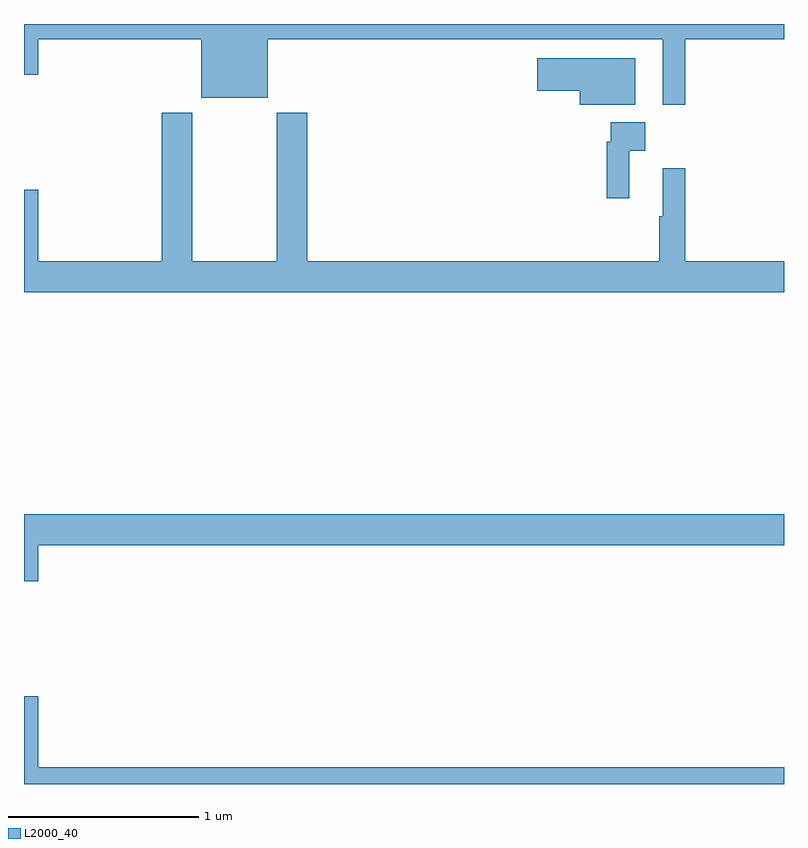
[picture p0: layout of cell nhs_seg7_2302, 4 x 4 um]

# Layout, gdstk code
import gdstk
lib = gdstk.Library(unit=1e-6, precision=1e-09)
def P(c, l, *ps):  # polygons
    for p in ps: c.add(gdstk.Polygon(p, *l))
L2000_40 = (2000, 40)

nhs_seg7_2302 = lib.new_cell('nhs_seg7_2302')
P(nhs_seg7_2302, L2000_40, [(264.479,1029.92),(265,1029.92),(265,1030),(261,1030),(261,1029.732),(261.076,1029.732),(261.076,1029.92),(261.932,1029.92),(261.932,1029.611),(262.282,1029.611),(262.282,1029.92),(264.362,1029.92),(264.362,1029.576),(264.479,1029.576)],
  [(264.217,1029.82),(263.7,1029.82),(263.7,1029.65),(263.924,1029.65),(263.924,1029.575),(264.217,1029.575)],
  [(265,1028.752),(264.479,1028.752),(264.479,1029.241),(264.362,1029.241),(264.362,1028.988),(264.343,1028.988),(264.343,1028.752),(262.49,1028.752),(262.49,1029.532),(262.33,1029.532),(262.33,1028.752),(261.885,1028.752),(261.885,1029.532),(261.725,1029.532),(261.725,1028.752),(261.076,1028.752),(261.076,1029.127),(261,1029.127),(261,1028.588),(265,1028.588)],
  [(264.185,1029.332),(264.271,1029.332),(264.271,1029.484),(264.087,1029.484),(264.087,1029.38),(264.067,1029.38),(264.067,1029.084),(264.185,1029.084)],
  [(261.076,1027.256),(265,1027.256),(265,1027.42),(261,1027.42),(261,1027.068),(261.076,1027.068)],
  [(265,1026.088),(261.076,1026.088),(261.076,1026.463),(261,1026.463),(261,1026),(265,1026)])

lib.write_gds('nhs_seg7_2302.gds')
